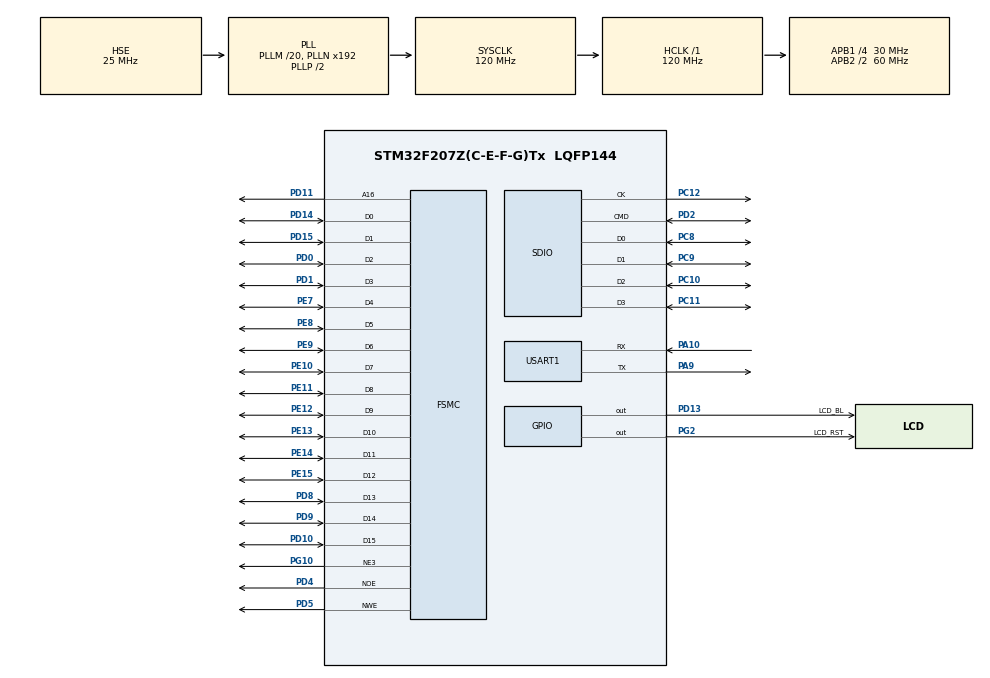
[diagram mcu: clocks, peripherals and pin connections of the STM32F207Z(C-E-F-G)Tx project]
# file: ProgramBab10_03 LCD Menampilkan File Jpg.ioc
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FATFS._FS_RPATH=2
FATFS._USE_FIND=1
FATFS._USE_LFN=1
FSMC.AddressSetupTime1=5
FSMC.BusTurnAroundDuration1=15
FSMC.DataSetupTime1=15
LIBJPEG.LIBJPEG_FS_type=FatFS
Mcu.Family=STM32F2
Mcu.Name=STM32F207Z(C-E-F-G)Tx
Mcu.Package=LQFP144
NVIC.PriorityGroup=NVIC_PRIORITYGROUP_4
PA10.Mode=Asynchronous
PA10.Signal=USART1_RX
PA9.Mode=Asynchronous
PA9.Signal=USART1_TX
PC10.Mode=SD_4_bits_Wide_bus
PC10.Signal=SDIO_D2
PC11.Mode=SD_4_bits_Wide_bus
PC11.Signal=SDIO_D3
PC12.Mode=SD_4_bits_Wide_bus
PC12.Signal=SDIO_CK
PC8.Mode=SD_4_bits_Wide_bus
PC8.Signal=SDIO_D0
PC9.Mode=SD_4_bits_Wide_bus
PC9.Signal=SDIO_D1
PD0.Signal=FSMC_D2_DA2
PD1.Signal=FSMC_D3_DA3
PD10.Signal=FSMC_D15_DA15
PD11.Signal=FSMC_A16_CLE
PD13.GPIO_Label=LCD_BL
PD13.Signal=GPIO_Output
PD14.Signal=FSMC_D0_DA0
PD15.Signal=FSMC_D1_DA1
PD2.Mode=SD_4_bits_Wide_bus
PD2.Signal=SDIO_CMD
PD4.Signal=FSMC_NOE
PD5.Signal=FSMC_NWE
PD8.Signal=FSMC_D13_DA13
PD9.Signal=FSMC_D14_DA14
PE10.Signal=FSMC_D7_DA7
PE11.Signal=FSMC_D8_DA8
PE12.Signal=FSMC_D9_DA9
PE13.Signal=FSMC_D10_DA10
PE14.Signal=FSMC_D11_DA11
PE15.Signal=FSMC_D12_DA12
PE7.Signal=FSMC_D4_DA4
PE8.Signal=FSMC_D5_DA5
PE9.Signal=FSMC_D6_DA6
PG10.Mode=NorPsramChipSelect3_1
PG10.Signal=FSMC_NE3
PG2.GPIO_Label=LCD_RST
PG2.Signal=GPIO_Output
PH0-OSC_IN.Mode=HSE-External-Oscillator
PH0-OSC_IN.Signal=RCC_OSC_IN
PH1-OSC_OUT.Mode=HSE-External-Oscillator
PH1-OSC_OUT.Signal=RCC_OSC_OUT
ProjectManager.HeapSize=0x200
ProjectManager.StackSize=0x400
ProjectManager.TargetToolchain=STM32CubeIDE
RCC.48MHZClocksFreq_Value=48000000
RCC.AHBFreq_Value=120000000
RCC.APB1CLKDivider=RCC_HCLK_DIV4
RCC.APB1Freq_Value=30000000
RCC.APB1TimFreq_Value=60000000
RCC.APB2CLKDivider=RCC_HCLK_DIV2
RCC.APB2Freq_Value=60000000
RCC.APB2TimFreq_Value=120000000
RCC.CortexFreq_Value=120000000
RCC.HCLKFreq_Value=120000000
RCC.HSE_VALUE=25000000
RCC.HSI_VALUE=16000000
RCC.LSE_VALUE=32768
RCC.PLLM=20
RCC.PLLQ=5
RCC.PLLSourceVirtual=RCC_PLLSOURCE_HSE
RCC.SYSCLKFreq_VALUE=120000000
RCC.SYSCLKSource=RCC_SYSCLKSOURCE_PLLCLK
RCC.VCOOutputFreq_Value=240000000
SH.FSMC_A16_CLE.0=FSMC_A16,A16_1
SH.FSMC_D0_DA0.0=FSMC_D0,16b-d1
SH.FSMC_D10_DA10.0=FSMC_D10,16b-d1
SH.FSMC_D11_DA11.0=FSMC_D11,16b-d1
SH.FSMC_D12_DA12.0=FSMC_D12,16b-d1
SH.FSMC_D13_DA13.0=FSMC_D13,16b-d1
SH.FSMC_D14_DA14.0=FSMC_D14,16b-d1
SH.FSMC_D15_DA15.0=FSMC_D15,16b-d1
SH.FSMC_D1_DA1.0=FSMC_D1,16b-d1
SH.FSMC_D2_DA2.0=FSMC_D2,16b-d1
SH.FSMC_D3_DA3.0=FSMC_D3,16b-d1
SH.FSMC_D4_DA4.0=FSMC_D4,16b-d1
SH.FSMC_D5_DA5.0=FSMC_D5,16b-d1
SH.FSMC_D6_DA6.0=FSMC_D6,16b-d1
SH.FSMC_D7_DA7.0=FSMC_D7,16b-d1
SH.FSMC_D8_DA8.0=FSMC_D8,16b-d1
SH.FSMC_D9_DA9.0=FSMC_D9,16b-d1
SH.FSMC_NOE.0=FSMC_NOE,Lcd1
SH.FSMC_NWE.0=FSMC_NWE,Lcd1
USART1.VirtualMode=VM_ASYNC
VP_FATFS_VS_SDIO.Mode=SDIO
VP_LIBJPEG_VS_JPEGLIB.Mode=Enabled
board=custom

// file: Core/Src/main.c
/* USER CODE BEGIN Header */
/**
  ******************************************************************************
  * @file           : main.c
  * @brief          : Main program body
  ******************************************************************************
  * @attention
  *
  * <h2><center>&copy; Copyright (c) 2019 STMicroelectronics.
  * All rights reserved.</center></h2>
  *
  * This software component is licensed by ST under BSD 3-Clause license,
  * the "License"; You may not use this file except in compliance with the
  * License. You may obtain a copy of the License at:
  *                        opensource.org/licenses/BSD-3-Clause
  *
  ******************************************************************************
  */
/* USER CODE END Header */
#include "main.h"
#include "fatfs.h"
#include "libjpeg.h"
#include "sdio.h"
#include "usart.h"
#include "gpio.h"
#include "fsmc.h"

/* USER CODE BEGIN Includes */
#include "global.h"
/* USER CODE END Includes */

/* USER CODE BEGIN PV */
RGB_typedef *RGB_matrix;
uint8_t _aucLine[5*2048];
uint32_t line_counter= 0;

/* USER CODE END PV */

void SystemClock_Config(void);
/* USER CODE BEGIN PFP */
void Display_File_JPG_uSD(void);
/* USER CODE END PFP */

int main(void)
{

  /* MCU Configuration--------------------------------------------------------*/

  /* Reset of all peripherals, Initializes the Flash interface and the Systick. */
  HAL_Init();

  /* Configure the system clock */
  SystemClock_Config();

  /* Initialize all configured peripherals */
  MX_GPIO_Init();
  MX_FSMC_Init();
  MX_SDIO_SD_Init();
  MX_USART1_UART_Init();
  MX_FATFS_Init();
  MX_LIBJPEG_Init();
  /* USER CODE BEGIN 2 */
  printf("LCD Menampilkan file jpg\r\n");
   if (BSP_LCD_Init()==LCD_OK){
	   printf("LCD Init OK\r\n");
	   BSP_LCD_Clear(LCD_COLOR_BLACK);
	   BSP_LCD_SetBackColor(LCD_COLOR_BLACK);
	   BSP_LCD_SetTextColor(LCD_COLOR_WHITE);
	   BSP_LCD_SetFont(&Font12);

	   BSP_LCD_Debug((uint8_t*)"LCD Menampilkan file BMP");
	   BSP_LCD_Debug( (uint8_t*)"SD Card Mount...");
	   if (retSD!=FR_OK){
		   BSP_LCD_Debug( (uint8_t*)"SD Card Mount...ERROR");
		   for(;;);
	   }
	   BSP_LCD_Debug( (uint8_t*)"SD Card Mount...OK");

    }

  /* USER CODE END 2 */

  /* Infinite loop */
  while (1)
  {

    /* USER CODE BEGIN 3 */

	  Display_File_JPG_uSD();
  }
  /* USER CODE END 3 */
}

void SystemClock_Config(void)
{
  RCC_OscInitTypeDef RCC_OscInitStruct = {0};
  RCC_ClkInitTypeDef RCC_ClkInitStruct = {0};

  /** Initializes the RCC Oscillators according to the specified parameters
  * in the RCC_OscInitTypeDef structure.
  */
  RCC_OscInitStruct.OscillatorType = RCC_OSCILLATORTYPE_HSE;
  RCC_OscInitStruct.HSEState = RCC_HSE_ON;
  RCC_OscInitStruct.PLL.PLLState = RCC_PLL_ON;
  RCC_OscInitStruct.PLL.PLLSource = RCC_PLLSOURCE_HSE;
  RCC_OscInitStruct.PLL.PLLM = 20;
  RCC_OscInitStruct.PLL.PLLN = 192;
  RCC_OscInitStruct.PLL.PLLP = RCC_PLLP_DIV2;
  RCC_OscInitStruct.PLL.PLLQ = 5;
  if (HAL_RCC_OscConfig(&RCC_OscInitStruct) != HAL_OK)
  {
    Error_Handler();
  }
  /** Initializes the CPU, AHB and APB buses clocks
  */
  RCC_ClkInitStruct.ClockType = RCC_CLOCKTYPE_HCLK|RCC_CLOCKTYPE_SYSCLK
                              |RCC_CLOCKTYPE_PCLK1|RCC_CLOCKTYPE_PCLK2;
  RCC_ClkInitStruct.SYSCLKSource = RCC_SYSCLKSOURCE_PLLCLK;
  RCC_ClkInitStruct.AHBCLKDivider = RCC_SYSCLK_DIV1;
  RCC_ClkInitStruct.APB1CLKDivider = RCC_HCLK_DIV4;
  RCC_ClkInitStruct.APB2CLKDivider = RCC_HCLK_DIV2;

  if (HAL_RCC_ClockConfig(&RCC_ClkInitStruct, FLASH_LATENCY_3) != HAL_OK)
  {
    Error_Handler();
  }
}

/* USER CODE BEGIN 4 */
void Display_File_JPG_uSD(void){
	FRESULT res;
	DIR dir;
	FILINFO fno;

	fno.lfname = malloc(_MAX_LFN);
	fno.lfsize = _MAX_LFN-1;

	BSP_LCD_Debug( (uint8_t*)"Chaneg directori to /Picture...");
	//Change directory to /Picture
	if (f_chdir("/Picture")==FR_OK){
		BSP_LCD_Debug( (uint8_t*)"Chaneg directori to /Picture...OK");
		//search file *.jpg
		BSP_LCD_Debug( (uint8_t*)"Search .jpg and jpeg files...");
		res=f_findfirst(&dir, &fno, "","*.j*g");

		while((res == FR_OK) && (fno.fname[0])){
		 line_counter=0;
		 memset(_aucLine,'\0',sizeof(_aucLine));
		 if(fno.fattrib & AM_DIR){
		 printf("open file %s\r\n", fno.fname);
		 }
	     jpeg_decode((uint8_t*)fno.fname, IMAGE_WIDTH, _aucLine, Jpeg_CallbackFunction);
	     res = f_findnext(&dir,&fno);
		 HAL_Delay(2000);
		}

		f_closedir(&dir);
		free(fno.lfname);
		printf("Finish %d\r\n",res);

	}
	else{
		BSP_LCD_Debug( (uint8_t*)"Chaneg directori to /Picture...Error");
	}

	free(fno.lfname);

}

uint8_t Jpeg_CallbackFunction(uint8_t* Row, uint32_t DataLength)
{
  uint32_t i = 0;
  RGB_matrix =  (RGB_typedef*)Row;
  uint16_t  RGB16Buffer[IMAGE_WIDTH];

  for(i = 0; i < IMAGE_WIDTH; i++)
  {
    RGB16Buffer[i]  = (uint16_t)
    (
     ((RGB_matrix[i].R & 0x00F8) >> 3)|
     ((RGB_matrix[i].G & 0x00FC) << 3)|
     ((RGB_matrix[i].B & 0x00F8) << 8)
    );

    BSP_LCD_DrawPixel(i, line_counter, RGB16Buffer[i]);
  }
  line_counter++;
  return 0;
}

/* USER CODE END 4 */

void Error_Handler(void)
{
}

/************************ (C) COPYRIGHT STMicroelectronics *****END OF FILE****/
